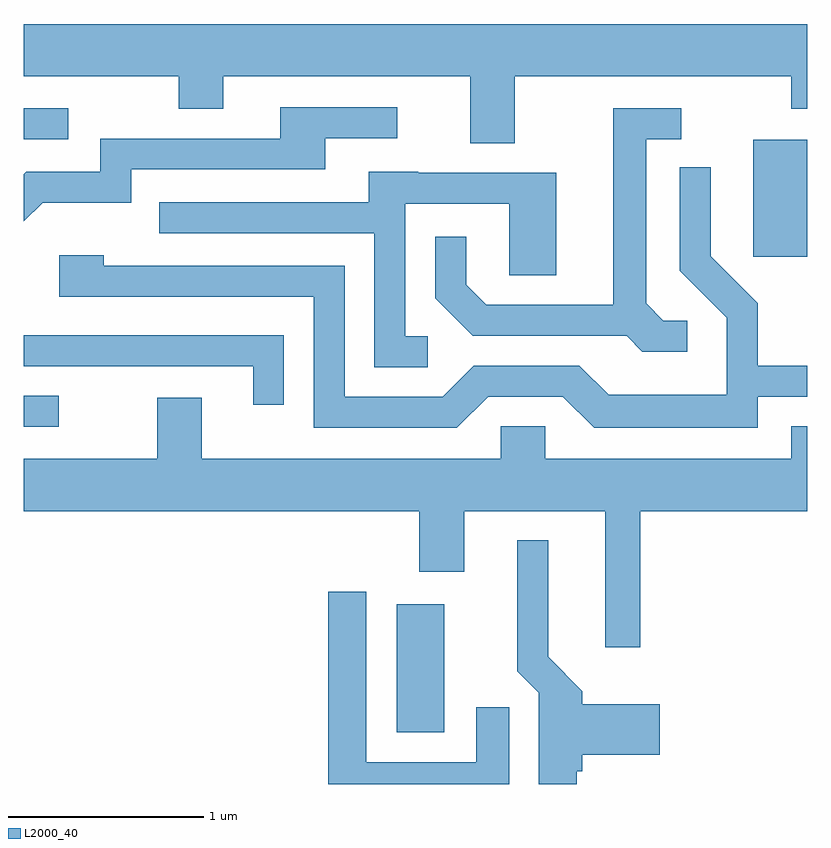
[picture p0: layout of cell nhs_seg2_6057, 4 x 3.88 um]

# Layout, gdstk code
import gdstk
lib = gdstk.Library(unit=1e-6, precision=1e-09)
def R(c, l, rs):  # rectangles x0, y0, x1, y1
    for r in rs: c.add(gdstk.rectangle(r[:2], r[2:], *l))
def P(c, l, *ps):  # polygons
    for p in ps: c.add(gdstk.Polygon(p, *l))
L2000_40 = (2000, 40)

nhs_seg2_6057 = lib.new_cell('nhs_seg2_6057')
R(nhs_seg2_6057, L2000_40, [(365.516,1056.066,365.759,1056.719), (363.611,1057.626,363.788,1057.784), (367.336,1058.496,367.611,1059.094), (363.611,1059.096,363.838,1059.254)])
P(nhs_seg2_6057, L2000_40, [(366.119,1059.416),(367.531,1059.416),(367.531,1059.251),(367.611,1059.251),(367.611,1059.684),(363.611,1059.684),(363.611,1059.416),(364.401,1059.416),(364.401,1059.251),(364.629,1059.251),(364.629,1059.416),(365.891,1059.416),(365.891,1059.076),(366.119,1059.076)],
  [(363.707,1058.771),(364.159,1058.771),(364.159,1058.941),(365.149,1058.941),(365.149,1059.101),(365.518,1059.101),(365.518,1059.259),(364.921,1059.259),(364.921,1059.099),(364.001,1059.099),(364.001,1058.929),(363.624,1058.929),(363.611,1058.916),(363.611,1058.676)],
  [(366.998,1058.169),(366.877,1058.169),(366.789,1058.257),(366.789,1059.096),(366.968,1059.096),(366.968,1059.254),(366.621,1059.254),(366.621,1058.249),(365.972,1058.249),(365.869,1058.352),(365.869,1058.598),(365.711,1058.598),(365.711,1058.284),(365.904,1058.091),(366.689,1058.091),(366.769,1058.011),(366.998,1058.011)],
  [(365.982,1057.781),(366.364,1057.781),(366.524,1057.621),(367.359,1057.621),(367.359,1057.781),(367.611,1057.781),(367.611,1057.939),(367.359,1057.939),(367.359,1058.257),(367.119,1058.497),(367.119,1058.953),(366.961,1058.953),(366.961,1058.424),(367.201,1058.184),(367.201,1057.789),(366.597,1057.789),(366.447,1057.939),(365.909,1057.939),(365.749,1057.779),(365.249,1057.779),(365.249,1058.449),(364.019,1058.449),(364.019,1058.504),(363.791,1058.504),(363.791,1058.291),(365.091,1058.291),(365.091,1057.621),(365.822,1057.621)],
  [(365.673,1058.089),(365.559,1058.089),(365.559,1058.766),(366.091,1058.766),(366.091,1058.401),(366.329,1058.401),(366.329,1058.924),(365.625,1058.924),(365.625,1058.929),(365.371,1058.929),(365.371,1058.774),(364.303,1058.774),(364.303,1058.616),(365.401,1058.616),(365.401,1057.931),(365.673,1057.931)],
  [(364.939,1058.094),(363.611,1058.094),(363.611,1057.936),(364.781,1057.936),(364.781,1057.738),(364.939,1057.738)],
  [(366.759,1057.196),(367.611,1057.196),(367.611,1057.629),(367.531,1057.629),(367.531,1057.464),(366.274,1057.464),(366.274,1057.629),(366.046,1057.629),(366.046,1057.464),(364.519,1057.464),(364.519,1057.774),(364.291,1057.774),(364.291,1057.464),(363.611,1057.464),(363.611,1057.196),(365.631,1057.196),(365.631,1056.886),(365.859,1056.886),(365.859,1057.196),(366.581,1057.196),(366.581,1056.501),(366.759,1056.501)],
  [(366.434,1055.866),(366.464,1055.866),(366.464,1055.951),(366.859,1055.951),(366.859,1056.209),(366.464,1056.209),(366.464,1056.277),(366.289,1056.452),(366.289,1057.048),(366.131,1057.048),(366.131,1056.379),(366.241,1056.269),(366.241,1055.802),(366.434,1055.802)],
  [(366.089,1056.193),(365.921,1056.193),(365.921,1055.914),(365.359,1055.914),(365.359,1056.784),(365.166,1056.784),(365.166,1055.802),(366.089,1055.802)])

lib.write_gds('nhs_seg2_6057.gds')
